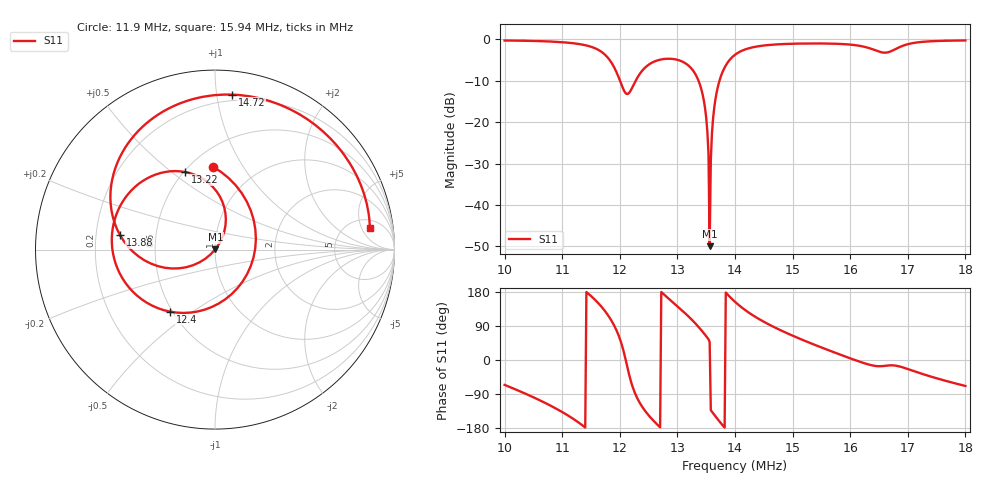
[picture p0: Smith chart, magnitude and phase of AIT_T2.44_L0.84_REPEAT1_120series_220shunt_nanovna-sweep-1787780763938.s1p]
! NanoVNA Web complex sweep
! Processing: original sample grid, no browser smoothing
# Hz S RI R 50
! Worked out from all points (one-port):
!   401 points, 10 MHz to 18 MHz, reference 50 ohm
!   lowest |S11| = -50.0 dB at 13.56 MHz (marker M1), VSWR 1.01, Z = 50.2 + j0.235 ohm
!   |S11| at or under -10 dB: 12 MHz to 12.28 MHz (271.9 kHz wide, 2.24 % of centre); 13.37 MHz to 13.73 MHz (364.3 kHz wide, 2.69 % of centre)
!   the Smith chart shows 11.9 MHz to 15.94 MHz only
!   S11 on the Smith chart (normalised r, x): 11.9 MHz: 0.63, +0.75; 12.4 MHz: 0.49, -0.41; 13.22 MHz: 0.51, +0.56; 13.88 MHz: 0.31, +0.07; 14.72 MHz: 0.16, +1.10; 15.94 MHz: 7, +7
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1e7  0.3981 -0.8828
1.054e7  -0.1857 -0.9372
1.1e7  -0.6786 -0.6262
1.15e7  -0.799 0.1567
1.174e7  -0.4185 0.5046
1.19e7  -0.0125 0.4622
1.2e7  0.1772 0.2674
1.214e7  0.1993 -0.0915
1.24e7  -0.2507 -0.3457
1.268e7  -0.5615 -0.0513
1.3e7  -0.4449 0.35
1.322e7  -0.1654 0.4321
1.344e7  0.0578 0.2046
1.352e7  0.04 0.0663
1.356e7  0.00216 0.00234
1.36e7  -0.0533 -0.0505
1.362e7  -0.0866 -0.0711
1.368e7  -0.2005 -0.1043
1.388e7  -0.5283 0.0792
1.4e7  -0.5828 0.2898
1.434e7  -0.3437 0.7337
1.472e7  0.0949 0.8633
1.5e7  0.3852 0.797
1.594e7  0.8629 0.1187
1.6e7  0.8593 0.0664
1.658e7  0.6648 -0.1886
1.7e7  0.7992 -0.3528
1.8e7  0.3552 -0.9023
